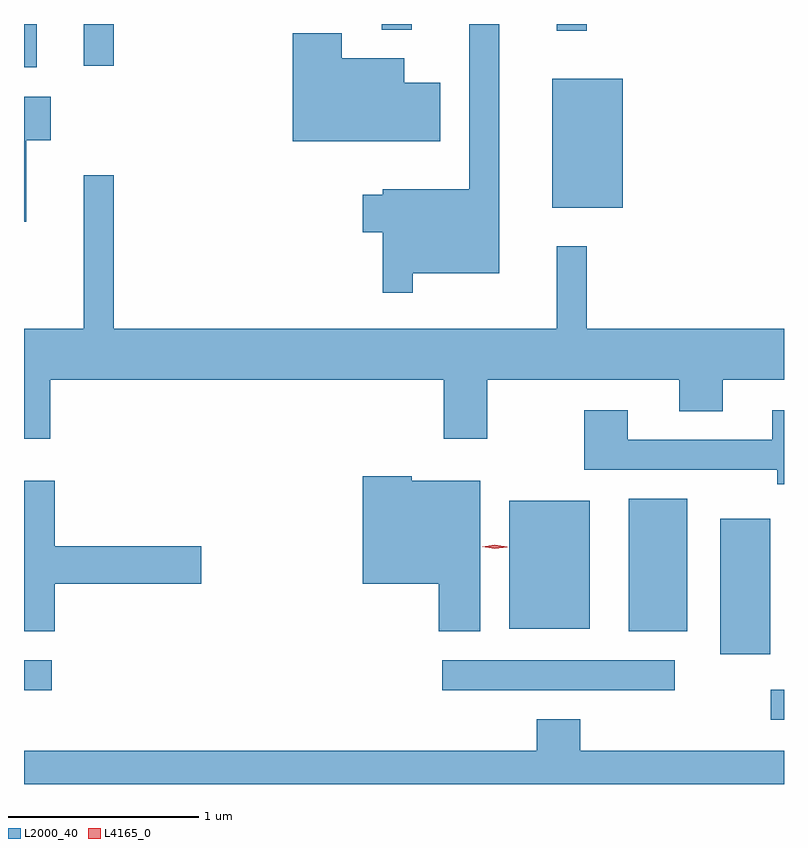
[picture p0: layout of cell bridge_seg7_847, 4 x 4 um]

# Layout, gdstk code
import gdstk
lib = gdstk.Library(unit=1e-6, precision=1e-09)
def R(c, l, rs):  # rectangles x0, y0, x1, y1
    for r in rs: c.add(gdstk.rectangle(r[:2], r[2:], *l))
def P(c, l, *ps):  # polygons
    for p in ps: c.add(gdstk.Polygon(p, *l))
L2000_40 = (2000, 40)
L4165_0 = (4165, 0)

bridge_seg7_847 = lib.new_cell('bridge_seg7_847')
R(bridge_seg7_847, L2000_40, [(383.173,1694.766,383.242,1694.924), (379.242,1694.921,379.388,1695.079), (381.443,1694.921,382.668,1695.079), (382.906,1695.111,383.169,1695.824), (382.426,1695.231,382.734,1695.929), (381.796,1695.246,382.219,1695.919), (382.021,1697.461,382.394,1698.139), (379.242,1698.201,379.309,1698.428), (379.556,1698.208,379.714,1698.428), (382.046,1698.393,382.204,1698.428), (381.126,1698.398,381.284,1698.428)])
P(bridge_seg7_847, L2000_40, [(381.289,1697.116),(381.744,1697.116),(381.744,1698.428),(381.586,1698.428),(381.586,1697.559),(381.131,1697.559),(381.131,1697.529),(381.026,1697.529),(381.026,1697.331),(381.131,1697.331),(381.131,1697.013),(381.289,1697.013)],
  [(381.434,1698.119),(381.244,1698.119),(381.244,1698.249),(380.914,1698.249),(380.914,1698.379),(380.656,1698.379),(380.656,1697.811),(381.434,1697.811)],
  [(379.254,1697.816),(379.384,1697.816),(379.384,1698.044),(379.242,1698.044),(379.242,1697.388),(379.254,1697.388)],
  [(379.379,1696.556),(381.451,1696.556),(381.451,1696.246),(381.679,1696.246),(381.679,1696.556),(382.691,1696.556),(382.691,1696.391),(382.919,1696.391),(382.919,1696.556),(383.242,1696.556),(383.242,1696.824),(382.204,1696.824),(382.204,1697.258),(382.046,1697.258),(382.046,1696.824),(379.714,1696.824),(379.714,1697.633),(379.556,1697.633),(379.556,1696.824),(379.242,1696.824),(379.242,1696.246),(379.379,1696.246)],
  [(383.242,1696.394),(383.181,1696.394),(383.181,1696.239),(382.419,1696.239),(382.419,1696.394),(382.191,1696.394),(382.191,1696.081),(383.206,1696.081),(383.206,1696.006),(383.242,1696.006)],
  [(381.644,1696.024),(381.284,1696.024),(381.284,1696.049),(381.026,1696.049),(381.026,1695.481),(381.426,1695.481),(381.426,1695.231),(381.644,1695.231)],
  [(379.404,1695.481),(380.174,1695.481),(380.174,1695.679),(379.404,1695.679),(379.404,1696.024),(379.242,1696.024),(379.242,1695.231),(379.404,1695.231)],
  [(383.242,1694.604),(382.169,1694.604),(382.169,1694.769),(381.941,1694.769),(381.941,1694.604),(379.242,1694.604),(379.242,1694.428),(383.242,1694.428)])
P(bridge_seg7_847, L4165_0, [(381.72,1695.666),(381.654,1695.676),(381.654,1695.677),(381.654,1695.677),(381.72,1695.686),(381.786,1695.676),(381.786,1695.676),(381.786,1695.675)])

lib.write_gds('bridge_seg7_847.gds')
